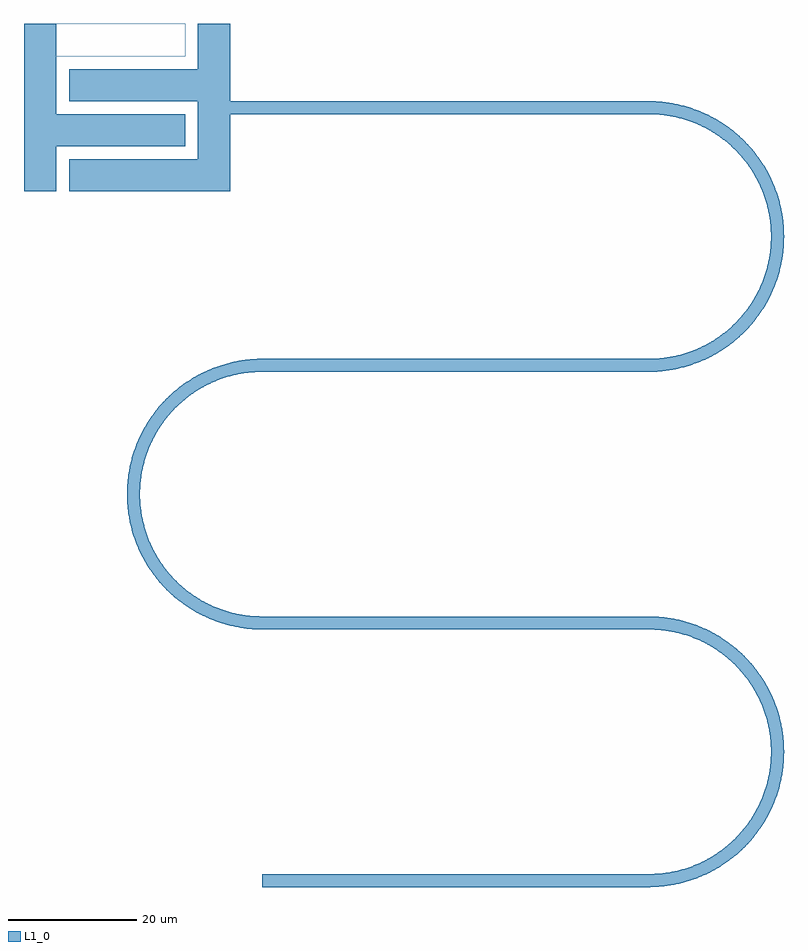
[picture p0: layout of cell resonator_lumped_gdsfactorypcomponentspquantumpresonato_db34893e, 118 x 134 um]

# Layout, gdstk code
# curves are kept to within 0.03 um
from math import pi, radians
import gdstk
lib = gdstk.Library(unit=1e-6, precision=1e-09)
def R(c, l, rs):  # rectangles x0, y0, x1, y1
    for r in rs: c.add(gdstk.rectangle(r[:2], r[2:], *l))
def P(c, l, *ps):  # polygons
    for p in ps: c.add(gdstk.Polygon(p, *l))
L1_0 = (1, 0)

interdigital_capacitor_g = lib.new_cell('interdigital_capacitor_gdsfactorypcomponentspanalogpint_412debcc')
P(interdigital_capacitor_g, L1_0, [(0,0),(0,26),(25,26),(25,21),(5,21),(5,26),(25,26),(25,21),(5,21),(5,12),(25,12),(25,7),(5,7),(5,0),(0,0)],
  [(7,0),(7,5),(27,5),(27,14),(7,14),(7,19),(27,19),(27,26),(32,26),(32,0),(32,0),(27,0),(27,0)])

straight_gdsfactorypcomp = lib.new_cell('straight_gdsfactorypcomponentspwaveguidespstraight_L5_N_5b1a893e')
R(straight_gdsfactorypcomp, L1_0, [(0,-1,5,1)])

c_straight_gdsfactorypcomp = lib.new_cell('straight_gdsfactorypcomponentspwaveguidespstraight_L60__e2aa7e80')
R(c_straight_gdsfactorypcomp, L1_0, [(0,-1,60,1)])

bend_circular_gdsfactory = lib.new_cell('bend_circular_gdsfactorypcomponentspbendspbend_circular_32a91d87')
P(bend_circular_gdsfactory, L1_0, [(0,-41),(0,-39),(0.958,-38.976),(2.153,-38.878),(4.044,-38.565),(5.894,-38.063),(7.684,-37.377),(8.764,-36.858),(9.604,-36.394),(11.207,-35.343),(12.696,-34.136),(14.055,-32.785),(15.128,-31.495),(16.21,-29.912),(17.021,-28.444),(17.699,-26.91),(18.24,-25.322),(18.638,-23.692),(18.891,-22.034),(19,-20.12),(18.915,-18.205),(18.683,-16.543),(18.305,-14.909),(17.785,-13.314),(17.021,-11.556),(16.21,-10.088),(15.128,-8.505),(14.055,-7.215),(12.696,-5.864),(11.207,-4.657),(9.604,-3.606),(8.764,-3.142),(7.684,-2.623),(5.894,-1.937),(4.044,-1.435),(2.153,-1.122),(0.958,-1.024),(0,-1),(0,1),(2.116,0.893),(4.211,0.574),(6.262,0.045),(8.006,-0.586),(9.921,-1.491),(11.736,-2.585),(13.431,-3.856),(14.802,-5.104),(16.228,-6.671),(17.488,-8.374),(18.446,-9.962),(19.363,-11.872),(20.084,-13.864),(20.547,-15.66),(20.879,-17.752),(21,-19.868),(20.906,-21.984),(20.6,-24.081),(20.16,-25.882),(19.464,-27.883),(18.571,-29.804),(17.634,-31.404),(16.395,-33.123),(14.989,-34.708),(13.431,-36.144),(11.736,-37.415),(9.921,-38.509),(8.25,-39.312),(6.262,-40.045),(4.211,-40.574),(2.116,-40.893)])

c_bend_circular_gdsfactory = lib.new_cell('bend_circular_gdsfactorypcomponentspbendspbend_circular_f3a28e0a')
P(c_bend_circular_gdsfactory, L1_0, [(0,-1),(0,1),(0.958,1.024),(2.153,1.122),(4.044,1.435),(5.894,1.937),(7.684,2.623),(8.764,3.142),(9.604,3.606),(11.207,4.657),(12.696,5.864),(14.055,7.215),(15.128,8.505),(16.21,10.088),(17.021,11.556),(17.699,13.09),(18.24,14.678),(18.638,16.308),(18.891,17.966),(19,19.88),(18.915,21.795),(18.683,23.457),(18.305,25.091),(17.785,26.686),(17.021,28.444),(16.21,29.912),(15.128,31.495),(14.055,32.785),(12.696,34.136),(11.207,35.343),(9.604,36.394),(8.764,36.858),(7.684,37.377),(5.894,38.063),(4.044,38.565),(2.153,38.878),(0.958,38.976),(0,39),(0,41),(2.116,40.893),(4.211,40.574),(6.262,40.045),(8.006,39.414),(9.921,38.509),(11.736,37.415),(13.431,36.144),(14.802,34.896),(16.228,33.329),(17.488,31.626),(18.446,30.038),(19.363,28.128),(20.084,26.136),(20.547,24.34),(20.879,22.248),(21,20.132),(20.906,18.016),(20.6,15.919),(20.16,14.118),(19.464,12.117),(18.571,10.196),(17.634,8.596),(16.395,6.877),(14.989,5.292),(13.431,3.856),(11.736,2.585),(9.921,1.491),(8.25,0.688),(6.262,-0.045),(4.211,-0.574),(2.116,-0.893)])

resonator_lumped_gdsfact = lib.new_cell('resonator_lumped_gdsfactorypcomponentspquantumpresonato_db34893e')
resonator_lumped_gdsfact.add(gdstk.Reference(interdigital_capacitor_g, (0,0)))
resonator_lumped_gdsfact.add(gdstk.Reference(straight_gdsfactorypcomp, (32,13)))
resonator_lumped_gdsfact.add(gdstk.Reference(c_straight_gdsfactorypcomp, (37,13)))
resonator_lumped_gdsfact.add(gdstk.Reference(bend_circular_gdsfactory, (97,13)))
resonator_lumped_gdsfact.add(gdstk.Reference(c_straight_gdsfactorypcomp, (97,-27), rotation=pi))
resonator_lumped_gdsfact.add(gdstk.Reference(c_bend_circular_gdsfactory, (37,-27), rotation=pi))
resonator_lumped_gdsfact.add(gdstk.Reference(c_straight_gdsfactorypcomp, (37,-67)))
resonator_lumped_gdsfact.add(gdstk.Reference(bend_circular_gdsfactory, (97,-67)))
resonator_lumped_gdsfact.add(gdstk.Reference(c_straight_gdsfactorypcomp, (97,-107), rotation=pi))

lib.write_gds('resonator_lumped_gdsfactorypcomponentspquantumpresonato_db34893e.gds')
